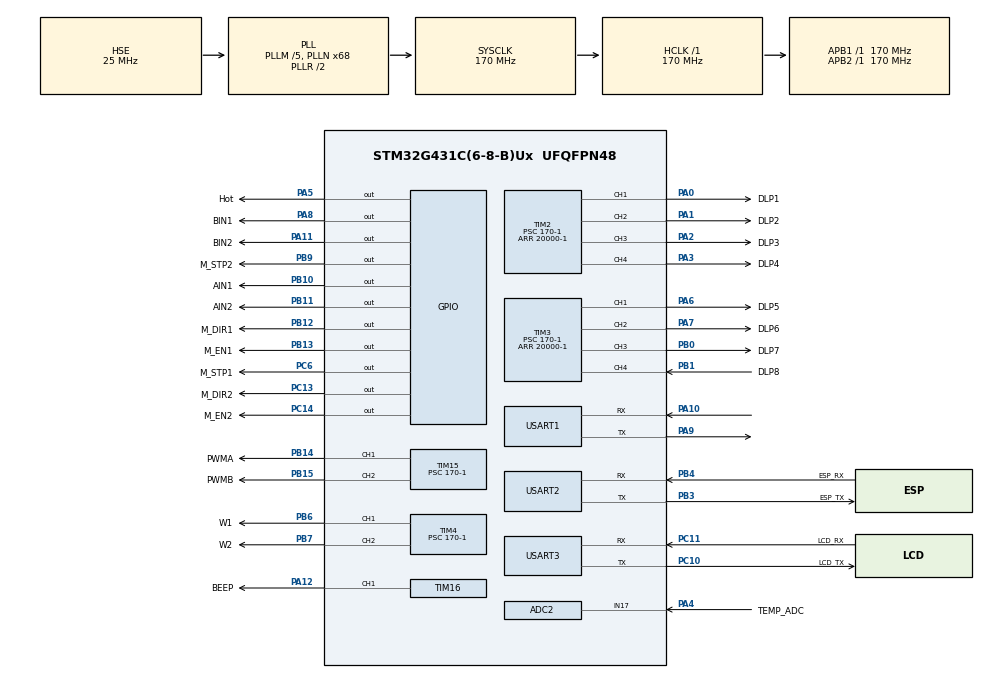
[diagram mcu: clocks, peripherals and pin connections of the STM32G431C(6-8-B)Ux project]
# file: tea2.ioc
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ADC2.Channel-0\#ChannelRegularConversion=ADC_CHANNEL_17
ADC2.NbrOfConversionFlag=1
ADC2.OffsetNumber-0\#ChannelRegularConversion=ADC_OFFSET_NONE
ADC2.Rank-0\#ChannelRegularConversion=1
ADC2.SamplingTime-0\#ChannelRegularConversion=ADC_SAMPLETIME_2CYCLES_5
Mcu.Family=STM32G4
Mcu.Name=STM32G431C(6-8-B)Ux
Mcu.Package=UFQFPN48
NVIC.PriorityGroup=NVIC_PRIORITYGROUP_2
NVIC.TIM1_TRG_COM_TIM17_IRQn=true\:1\:2\:true\:false\:true\:true\:true\:true
NVIC.TIM6_DAC_IRQn=true\:1\:1\:true\:false\:true\:true\:true\:true
NVIC.TIM7_IRQn=true\:1\:1\:true\:false\:true\:true\:true\:true
NVIC.USART2_IRQn=true\:0\:2\:false\:false\:true\:true\:true\:true
NVIC.USART3_IRQn=true\:0\:1\:false\:false\:true\:true\:true\:true
PA0.GPIO_Label=DLP1
PA0.Signal=S_TIM2_CH1
PA1.GPIO_Label=DLP2
PA1.Signal=S_TIM2_CH2
PA10.Mode=Asynchronous
PA10.Signal=USART1_RX
PA11.GPIO_Label=BIN2
PA11.Signal=GPIO_Output
PA12.GPIO_Label=BEEP
PA12.Signal=S_TIM16_CH1
PA13.Mode=Serial_Wire
PA13.Signal=SYS_JTMS-SWDIO
PA14.Mode=Serial_Wire
PA14.Signal=SYS_JTCK-SWCLK
PA2.GPIO_Label=DLP3
PA2.Signal=S_TIM2_CH3
PA3.GPIO_Label=DLP4
PA3.Signal=S_TIM2_CH4
PA4.GPIO_Label=TEMP_ADC
PA4.Mode=IN17-Single-Ended
PA4.Signal=ADC2_IN17
PA5.GPIO_Label=Hot
PA5.Signal=GPIO_Output
PA6.GPIO_Label=DLP5
PA6.Signal=S_TIM3_CH1
PA7.GPIO_Label=DLP6
PA7.Signal=S_TIM3_CH2
PA8.GPIO_Label=BIN1
PA8.Signal=GPIO_Output
PA9.Mode=Asynchronous
PA9.Signal=USART1_TX
PB0.GPIO_Label=DLP7
PB0.Signal=S_TIM3_CH3
PB1.GPIO_Label=DLP8
PB1.Signal=S_TIM3_CH4
PB10.GPIO_Label=AIN1
PB10.Signal=GPIO_Output
PB11.GPIO_Label=AIN2
PB11.Signal=GPIO_Output
PB12.GPIO_Label=M_DIR1
PB12.Signal=GPIO_Output
PB13.GPIO_Label=M_EN1
PB13.GPIO_Speed=GPIO_SPEED_FREQ_LOW
PB13.Signal=GPIO_Output
PB14.GPIO_Label=PWMA
PB14.GPIO_Speed=GPIO_SPEED_FREQ_LOW
PB14.Signal=S_TIM15_CH1
PB15.GPIO_Label=PWMB
PB15.Signal=S_TIM15_CH2
PB3.GPIO_Label=ESP_TX
PB3.Mode=Asynchronous
PB3.Signal=USART2_TX
PB4.GPIO_Label=ESP_RX
PB4.Mode=Asynchronous
PB4.Signal=USART2_RX
PB6.GPIO_Label=W1
PB6.Signal=S_TIM4_CH1
PB7.GPIO_Label=W2
PB7.Signal=S_TIM4_CH2
PB9.GPIO_Label=M_STP2
PB9.GPIO_Speed=GPIO_SPEED_FREQ_VERY_HIGH
PB9.Signal=GPIO_Output
PC10.GPIO_Label=LCD_TX
PC10.Mode=Asynchronous
PC10.Signal=USART3_TX
PC11.GPIO_Label=LCD_RX
PC11.Mode=Asynchronous
PC11.Signal=USART3_RX
PC13.GPIO_Label=M_DIR2
PC13.Signal=GPIO_Output
PC14-OSC32_IN.GPIO_Label=M_EN2
PC14-OSC32_IN.Signal=GPIO_Output
PC6.GPIO_Label=M_STP1
PC6.GPIO_Speed=GPIO_SPEED_FREQ_VERY_HIGH
PC6.Signal=GPIO_Output
PF0-OSC_IN.Mode=HSE-External-Oscillator
PF0-OSC_IN.Signal=RCC_OSC_IN
PF1-OSC_OUT.Mode=HSE-External-Oscillator
PF1-OSC_OUT.Signal=RCC_OSC_OUT
ProjectManager.HeapSize=0x200
ProjectManager.StackSize=0x400
ProjectManager.TargetToolchain=MDK-ARM V5.32
RCC.ADC12Freq_Value=170000000
RCC.AHBFreq_Value=170000000
RCC.APB1Freq_Value=170000000
RCC.APB1TimFreq_Value=170000000
RCC.APB2Freq_Value=170000000
RCC.APB2TimFreq_Value=170000000
RCC.CortexFreq_Value=170000000
RCC.EXTERNAL_CLOCK_VALUE=12288000
RCC.HCLKFreq_Value=170000000
RCC.HSE_VALUE=25000000
RCC.HSI48_VALUE=48000000
RCC.HSI_VALUE=16000000
RCC.LSE_VALUE=32768
RCC.PLLM=RCC_PLLM_DIV5
RCC.PLLN=68
RCC.PLLSourceVirtual=RCC_PLLSOURCE_HSE
RCC.SYSCLKFreq_VALUE=170000000
RCC.SYSCLKSource=RCC_SYSCLKSOURCE_PLLCLK
RCC.USBFreq_Value=170000000
RCC.VCOOutputFreq_Value=340000000
SH.S_TIM15_CH1.0=TIM15_CH1,PWM Generation1 CH1
SH.S_TIM15_CH2.0=TIM15_CH2,PWM Generation2 CH2
SH.S_TIM16_CH1.0=TIM16_CH1,PWM Generation1 CH1
SH.S_TIM2_CH1.0=TIM2_CH1,PWM Generation1 CH1
SH.S_TIM2_CH2.0=TIM2_CH2,PWM Generation2 CH2
SH.S_TIM2_CH3.0=TIM2_CH3,PWM Generation3 CH3
SH.S_TIM2_CH4.0=TIM2_CH4,PWM Generation4 CH4
SH.S_TIM3_CH1.0=TIM3_CH1,PWM Generation1 CH1
SH.S_TIM3_CH2.0=TIM3_CH2,PWM Generation2 CH2
SH.S_TIM3_CH3.0=TIM3_CH3,PWM Generation3 CH3
SH.S_TIM3_CH4.0=TIM3_CH4,Input_Capture4_from_TI4
SH.S_TIM4_CH1.0=TIM4_CH1,PWM Generation1 CH1
SH.S_TIM4_CH2.0=TIM4_CH2,PWM Generation2 CH2
TIM15.Channel-PWM\ Generation1\ CH1=TIM_CHANNEL_1
TIM15.Channel-PWM\ Generation2\ CH2=TIM_CHANNEL_2
TIM15.PeriodNoDither=1000-1
TIM15.Prescaler=170-1
TIM15.PulseNoDither_1=0
TIM15.PulseNoDither_2=0
TIM16.Channel=TIM_CHANNEL_1
TIM17.PeriodNoDither=10000-1
TIM17.Prescaler=17-1
TIM2.Channel-PWM\ Generation1\ CH1=TIM_CHANNEL_1
TIM2.Channel-PWM\ Generation2\ CH2=TIM_CHANNEL_2
TIM2.Channel-PWM\ Generation3\ CH3=TIM_CHANNEL_3
TIM2.Channel-PWM\ Generation4\ CH4=TIM_CHANNEL_4
TIM2.PeriodNoDither=20000-1
TIM2.Prescaler=170-1
TIM3.Channel-Input_Capture4_from_TI4=TIM_CHANNEL_4
TIM3.Channel-PWM\ Generation1\ CH1=TIM_CHANNEL_1
TIM3.Channel-PWM\ Generation2\ CH2=TIM_CHANNEL_2
TIM3.Channel-PWM\ Generation3\ CH3=TIM_CHANNEL_3
TIM3.ICFilter_CH4=2
TIM3.PeriodNoDither=20000-1
TIM3.Prescaler=170-1
TIM4.Channel-PWM\ Generation1\ CH1=TIM_CHANNEL_1
TIM4.Channel-PWM\ Generation2\ CH2=TIM_CHANNEL_2
TIM4.PeriodNoDither=1000-1
TIM4.Prescaler=170-1
TIM6.PeriodNoDither=1000-1
TIM6.Prescaler=17-1
TIM7.PeriodNoDither=1000-1
TIM7.Prescaler=17-1
USART1.VirtualMode-Asynchronous=VM_ASYNC
USART2.VirtualMode-Asynchronous=VM_ASYNC
USART3.VirtualMode-Asynchronous=VM_ASYNC
VP_SYS_VS_DBSignals.Mode=DisableDeadBatterySignals
VP_TIM15_VS_ClockSourceINT.Mode=Internal
VP_TIM16_VS_ClockSourceINT.Mode=Enable_Timer
VP_TIM17_VS_ClockSourceINT.Mode=Enable_Timer
VP_TIM2_VS_ClockSourceINT.Mode=Internal
VP_TIM3_VS_ClockSourceINT.Mode=Internal
VP_TIM4_VS_ClockSourceINT.Mode=Internal
VP_TIM6_VS_ClockSourceINT.Mode=Enable_Timer
VP_TIM7_VS_ClockSourceINT.Mode=Enable_Timer
board=custom

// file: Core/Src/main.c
/* USER CODE BEGIN Header */
/**
  ******************************************************************************
  * @file           : main.c
  * @brief          : Main program body
  ******************************************************************************
  * @attention
  *
  * Copyright (c) 2024 STMicroelectronics.
  * All rights reserved.
  *
  * This software is licensed under terms that can be found in the LICENSE file
  * in the root directory of this software component.
  * If no LICENSE file comes with this software, it is provided AS-IS.
  *
  ******************************************************************************
  */
/* USER CODE END Header */
#include "main.h"
#include "adc.h"
#include "tim.h"
#include "usart.h"
#include "gpio.h"

/* USER CODE BEGIN Includes */

#include "commond.h"
#include "shell_port.h"

/* USER CODE END Includes */

/* USER CODE BEGIN PD */

// 标志位
uint8_t wireless_send_flag = 0;     //上报数据标志位

/* USER CODE END PD */

/* USER CODE BEGIN PM */

char rx_byte[1] = {0};
uint8_t rx2_byte[1];

/* USER CODE END PM */

/* USER CODE BEGIN PV */

//extern STP_TYPEDEFT g_stepper1;
extern task_t taskList[TaskListNum];

enum taskID taskName;

//unsigned char addtea_flag  = 0;
unsigned char preheat_flag = 0;
unsigned char maketea_flag = 0;
unsigned char clean_flag   = 0;
unsigned char addtea_flag   = 0;

/* USER CODE END PV */

void SystemClock_Config(void);
/* USER CODE BEGIN PFP */

//测试标志位
unsigned char water_flag	 = 0;
unsigned char stepmotor1_flag = 0;
unsigned char stepmotor2_flag = 0;
unsigned char motor_flag	 = 0;
unsigned char sevor_flag	 = 0;
unsigned char HOT_Flag		 = 0;

// 测试数据
unsigned char buf[64];

uint16_t val = 0;

float servo_val1 = 90.0f;
float servo_val2 = 60.0f;
float servo_val3 = 0.0f;
float servo_val4 = 180.0f;
float servo_val5 = 0.0f;

uint16_t servo_time = 2000;
float step_val = 30.0f;

/* USER CODE END PFP */

/* USER CODE BEGIN 0 */

void System_Init(void)//初始化
{
//	LetterShell_Init(); //Shell初始化

    // 开启 PWM 输出
    pwm_driver_init();
	beep_on(mode1);

    //时间片轮询初始化
    Task_Init(taskList, TaskListNum, 1); // 时间片为1ms
    HAL_TIM_Base_Start_IT(&htim17); //1ms

	initRingBuff();
    // 使能接收中断
	//	HAL_UART_Receive_IT(&huart1, (uint8_t *)rx1_byte, 1);
    HAL_UART_Receive_IT(&huart2, rx2_byte, 1);
    HAL_UART_Receive_IT(&huart3, RxBuff, 1);

	HAL_Delay(2000);

	wireless_init();                //无线模块初始化并连接onenet mqtt服务器

    TJCPrintf("\x00");          //为确保串口HMI正常通信

    StepperMotor_Init(&g_stepper1);
	StepperMotor_Init(&g_stepper2);

	beep_on(mode1);

//    Meun_Init();//LCD初始化
//    key_driver_init();//按键初始化
}

/* USER CODE END 0 */

int main(void)
{

  /* MCU Configuration--------------------------------------------------------*/

  /* Reset of all peripherals, Initializes the Flash interface and the Systick. */
  HAL_Init();

  /* Configure the system clock */
  SystemClock_Config();

  /* Initialize all configured peripherals */
  MX_GPIO_Init();
  MX_TIM3_Init();
  MX_TIM4_Init();
  MX_TIM15_Init();
  MX_TIM17_Init();
  MX_USART1_UART_Init();
  MX_USART2_UART_Init();
  MX_USART3_UART_Init();
  MX_TIM16_Init();
  MX_TIM7_Init();
  MX_ADC2_Init();
  MX_TIM2_Init();
  MX_TIM6_Init();
  /* USER CODE BEGIN 2 */

	// 外设初始化
    System_Init();

  /* USER CODE END 2 */

  /* Infinite loop */
  /* USER CODE BEGIN WHILE */
    while (1)
    {
		if(HOT_Flag == 1)
		{
			HAL_GPIO_TogglePin(Hot_GPIO_Port, Hot_Pin);
			HOT_Flag = 0;
		}

		/* 水泵 */
		if(water_flag == 1)
		{
//			Set_water1_speed(val);
//			Set_water2_speed(val);
			water_flag = 0;
		}

		/* 电机 */
		if(motor_flag == 1)
		{
			Set_motor1_speed(val);
			motor_flag = 0;
		}

		/* 舵机 */
		if(sevor_flag == 1)
		{
			Servo_StartSmoothMove(&htim2, TIM_CHANNEL_1, (servo_val1), servo_time);
			Servo_StartSmoothMove(&htim2, TIM_CHANNEL_2, (servo_val2), servo_time);
			Servo_StartSmoothMove(&htim2, TIM_CHANNEL_3, (servo_val3), servo_time);
//			Servo_StartSmoothMove(&htim3, TIM_CHANNEL_2, (servo_val4), servo_time);
//			Servo_SetInstantAngle(&htim2, TIM_CHANNEL_1, (servo_val1));
//			Servo_SetInstantAngle(&htim2, TIM_CHANNEL_2, (servo_val2));
//			Servo_SetInstantAngle(&htim2, TIM_CHANNEL_3, (servo_val3));
			Servo_SetInstantAngle(&htim2, TIM_CHANNEL_4, (servo_val4));
			Servo_SetInstantAngle(&htim3, TIM_CHANNEL_1, (servo_val5));
			sevor_flag = 0;
		}

		/* 串口屏 */
//		sprintf((char *)buf, "page0.j0.val=%d", val);
//		TJCPrintf((const char *)buf);
		Protocol_parsing();

		/* 步进电机 */
		if(stepmotor1_flag == 1)
		{
			if(!StepperMotor_IsMoving(&g_stepper1)) // 等待完成
				StepperMotor_SetAngle(&g_stepper1, step_val);
		}

		if(stepmotor2_flag == 1)
		{
			if(!StepperMotor_IsMoving(&g_stepper2)) // 等待完成
				StepperMotor_SetAngle(&g_stepper2, step_val);
		}

		/* WIFI */
        if(wireless_send_flag == 1) 		//数据上报标志位
        {
            wireless_send_flag = 0;
            wireless_system_handler();		//执行无线模块相关事件
            wireless_onenet_data_handler();	//处理有关onenet的数据
            if((WirelessStatus.error_code & ERROR_MQTT_CONNECT) == 0)  wireless_publish_data(); 	//发布数据测试
        }
        if(wireless_get_receive_flag() == W_OK)		//无线模块接收到数据
        {
            wireless_receive_data_handler();		//接收数据处理函数
        }

		/* 命令行 */
//        shellTask(&shell);

    /* USER CODE END WHILE */

    /* USER CODE BEGIN 3 */
//		HAL_Delay(1);	// 缓冲
    }
  /* USER CODE END 3 */
}

void SystemClock_Config(void)
{
  RCC_OscInitTypeDef RCC_OscInitStruct = {0};
  RCC_ClkInitTypeDef RCC_ClkInitStruct = {0};

  /** Configure the main internal regulator output voltage
  */
  HAL_PWREx_ControlVoltageScaling(PWR_REGULATOR_VOLTAGE_SCALE1_BOOST);

  /** Initializes the RCC Oscillators according to the specified parameters
  * in the RCC_OscInitTypeDef structure.
  */
  RCC_OscInitStruct.OscillatorType = RCC_OSCILLATORTYPE_HSE;
  RCC_OscInitStruct.HSEState = RCC_HSE_ON;
  RCC_OscInitStruct.PLL.PLLState = RCC_PLL_ON;
  RCC_OscInitStruct.PLL.PLLSource = RCC_PLLSOURCE_HSE;
  RCC_OscInitStruct.PLL.PLLM = RCC_PLLM_DIV5;
  RCC_OscInitStruct.PLL.PLLN = 68;
  RCC_OscInitStruct.PLL.PLLP = RCC_PLLP_DIV2;
  RCC_OscInitStruct.PLL.PLLQ = RCC_PLLQ_DIV2;
  RCC_OscInitStruct.PLL.PLLR = RCC_PLLR_DIV2;
  if (HAL_RCC_OscConfig(&RCC_OscInitStruct) != HAL_OK)
  {
    Error_Handler();
  }

  /** Initializes the CPU, AHB and APB buses clocks
  */
  RCC_ClkInitStruct.ClockType = RCC_CLOCKTYPE_HCLK|RCC_CLOCKTYPE_SYSCLK
                              |RCC_CLOCKTYPE_PCLK1|RCC_CLOCKTYPE_PCLK2;
  RCC_ClkInitStruct.SYSCLKSource = RCC_SYSCLKSOURCE_PLLCLK;
  RCC_ClkInitStruct.AHBCLKDivider = RCC_SYSCLK_DIV1;
  RCC_ClkInitStruct.APB1CLKDivider = RCC_HCLK_DIV1;
  RCC_ClkInitStruct.APB2CLKDivider = RCC_HCLK_DIV1;

  if (HAL_RCC_ClockConfig(&RCC_ClkInitStruct, FLASH_LATENCY_4) != HAL_OK)
  {
    Error_Handler();
  }
}

/* USER CODE BEGIN 4 */
int fputc(int ch,FILE *f)
{
    //采用轮询方式发送1字节数据，超时时间设置为无限等待
    HAL_UART_Transmit(&huart1,(uint8_t *)&ch,1,HAL_MAX_DELAY);
    return ch;
}

int fgetc(FILE *f)
{
    uint8_t ch;
    // 采用轮询方式接收 1字节数据，超时时间设置为无限等待
    HAL_UART_Receive( &huart1,(uint8_t*)&ch,1, HAL_MAX_DELAY );
    return ch;
}

/* USER CODE END 4 */

void Error_Handler(void)
{
    __disable_irq();
    while (1)
    {
    }
}
